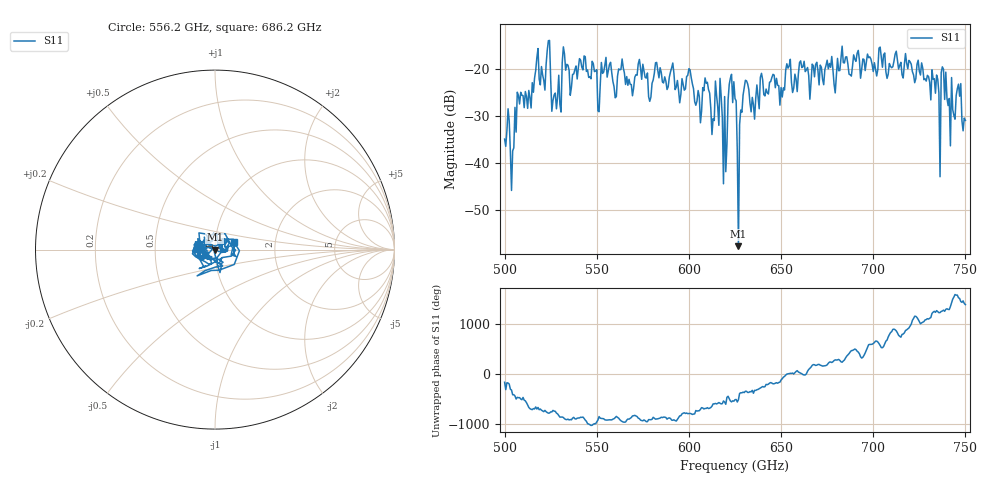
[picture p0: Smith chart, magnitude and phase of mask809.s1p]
!Created with skrf (http://scikit-rf.org).
# GHz S MA R 50.0
!freq magS11 angS11
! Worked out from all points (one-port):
!   401 points, 500 GHz to 750 GHz, reference 50 ohm
!   lowest |S11| = -57.8 dB at 626.9 GHz (marker M1), VSWR 1.00, Z = 49.9 - j0.0629 ohm
!   |S11| at or under -10 dB: start of sweep to end of sweep
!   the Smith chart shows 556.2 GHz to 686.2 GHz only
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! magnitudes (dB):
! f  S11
! 500 GHz  -34.9
! 503.8 GHz  -45.9
! 508.1 GHz  -27.4
! 513.1 GHz  -24.5
! 517.5 GHz  -17.5
! 523.8 GHz  -13.9
! 526.9 GHz  -25.5
! 531.2 GHz  -18.6
! 562.5 GHz  -20.1
! 593.8 GHz  -22.4
! 610 GHz  -22.8
! 612.5 GHz  -33.9
! 616.2 GHz  -32.0
! 619.4 GHz  -25.8
! 622.5 GHz  -21.9
! 625 GHz  -26.2
! 626.9 GHz  -57.8
! 630.6 GHz  -22.3
! 634.4 GHz  -26.0
! 656.2 GHz  -24.9
! 687.5 GHz  -21.2
! 718.8 GHz  -19.9
! 733.1 GHz  -22.0
! 735 GHz  -22.1
! 738.1 GHz  -20.0
! 743.1 GHz  -28.6
! 746.2 GHz  -23.2
! 750 GHz  -30.9
